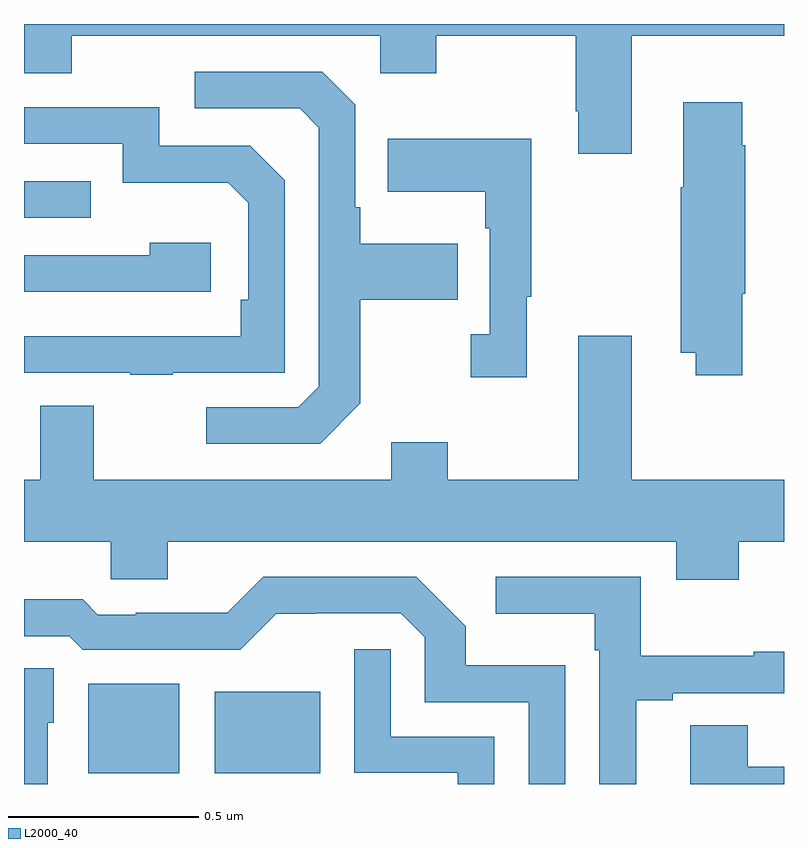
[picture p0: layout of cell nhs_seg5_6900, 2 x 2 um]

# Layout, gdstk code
import gdstk
lib = gdstk.Library(unit=1e-6, precision=1e-09)
def R(c, l, rs):  # rectangles x0, y0, x1, y1
    for r in rs: c.add(gdstk.rectangle(r[:2], r[2:], *l))
def P(c, l, *ps):  # polygons
    for p in ps: c.add(gdstk.Polygon(p, *l))
L2000_40 = (2000, 40)

nhs_seg5_6900 = lib.new_cell('nhs_seg5_6900')
R(nhs_seg5_6900, L2000_40, [(202.169,846.827,202.408,847.063), (202.502,846.827,202.78,847.042), (202,848.289,202.175,848.385)])
P(nhs_seg5_6900, L2000_40, [(203.599,848.768),(204,848.768),(204,848.799),(202,848.799),(202,848.669),(202.125,848.669),(202.125,848.768),(202.938,848.768),(202.938,848.669),(203.085,848.669),(203.085,848.768),(203.452,848.768),(203.452,848.569),(203.459,848.569),(203.459,848.457),(203.599,848.457)],
  [(202.885,847.801),(202.885,848.074),(203.141,848.074),(203.141,848.221),(202.885,848.221),(202.885,848.317),(202.872,848.317),(202.872,848.586),(202.785,848.673),(202.449,848.673),(202.449,848.577),(202.725,848.577),(202.776,848.526),(202.776,847.845),(202.722,847.791),(202.479,847.791),(202.479,847.695),(202.779,847.695)],
  [(203.89,848.089),(203.898,848.089),(203.898,848.48),(203.89,848.48),(203.89,848.593),(203.735,848.593),(203.735,848.369),(203.728,848.369),(203.728,847.934),(203.768,847.934),(203.768,847.875),(203.89,847.875)],
  [(202.391,847.881),(202.686,847.881),(202.686,848.388),(202.596,848.478),(202.356,848.478),(202.356,848.58),(202,848.58),(202,848.484),(202.26,848.484),(202.26,848.381),(202.537,848.381),(202.59,848.328),(202.59,848.074),(202.57,848.074),(202.57,847.977),(202,847.977),(202,847.881),(202.279,847.881),(202.279,847.876),(202.391,847.876)],
  [(203.323,848.081),(203.335,848.081),(203.335,848.497),(202.957,848.497),(202.957,848.357),(203.214,848.357),(203.214,848.261),(203.226,848.261),(203.226,847.982),(203.175,847.982),(203.175,847.869),(203.323,847.869)],
  [(202.492,848.224),(202.331,848.224),(202.331,848.19),(202,848.19),(202,848.094),(202.492,848.094)],
  [(203.881,847.436),(204,847.436),(204,847.6),(203.599,847.6),(203.599,847.978),(203.459,847.978),(203.459,847.6),(203.115,847.6),(203.115,847.699),(202.967,847.699),(202.967,847.6),(202.183,847.6),(202.183,847.795),(202.043,847.795),(202.043,847.6),(202,847.6),(202,847.436),(202.228,847.436),(202.228,847.338),(202.378,847.338),(202.378,847.436),(203.717,847.436),(203.717,847.337),(203.881,847.337)],
  [(203.424,847.111),(203.163,847.111),(203.163,847.214),(203.032,847.344),(202.629,847.344),(202.535,847.25),(202.294,847.25),(202.294,847.245),(202.194,847.245),(202.155,847.285),(202,847.285),(202,847.188),(202.119,847.188),(202.155,847.152),(202.569,847.152),(202.664,847.247),(202.768,847.247),(202.768,847.248),(202.992,847.248),(203.055,847.185),(203.055,847.014),(203.328,847.014),(203.328,846.799),(203.424,846.799)],
  [(203.611,847.02),(203.707,847.02),(203.707,847.038),(204,847.038),(204,847.147),(203.921,847.147),(203.921,847.136),(203.623,847.136),(203.623,847.344),(203.241,847.344),(203.241,847.247),(203.502,847.247),(203.502,847.151),(203.514,847.151),(203.514,846.799),(203.611,846.799)],
  [(203.238,846.924),(202.965,846.924),(202.965,847.153),(202.869,847.153),(202.869,846.828),(203.142,846.828),(203.142,846.799),(203.238,846.799)],
  [(202.062,846.96),(202.078,846.96),(202.078,847.103),(202,847.103),(202,846.799),(202.062,846.799)],
  [(204,846.844),(203.905,846.844),(203.905,846.953),(203.753,846.953),(203.753,846.799),(204,846.799)])

lib.write_gds('nhs_seg5_6900.gds')
